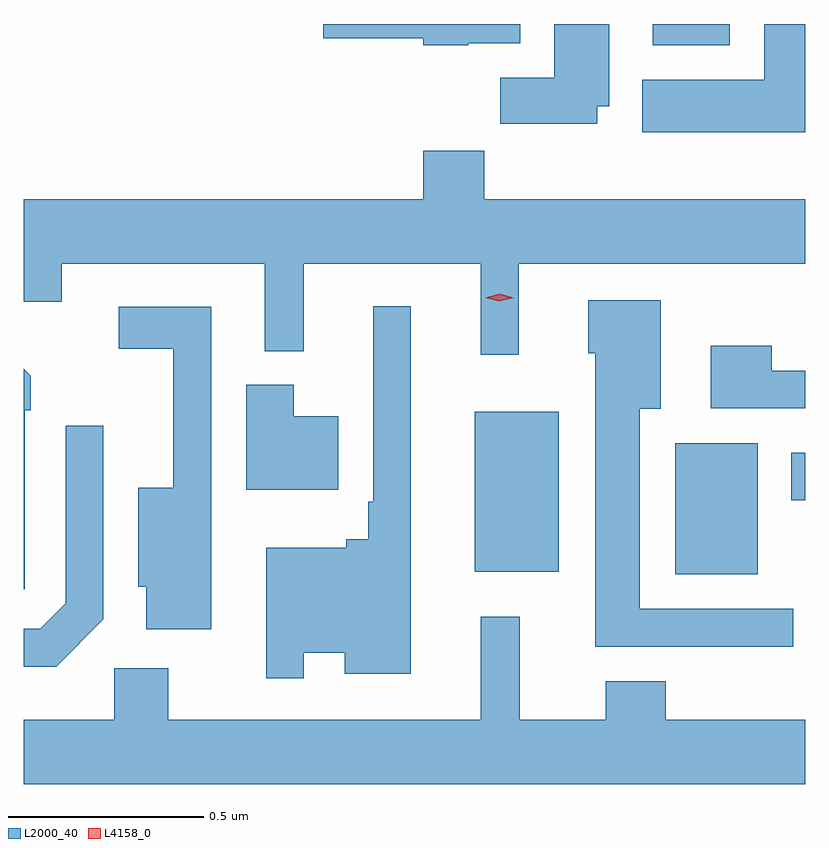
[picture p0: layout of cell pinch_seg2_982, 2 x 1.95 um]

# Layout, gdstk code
import gdstk
lib = gdstk.Library(unit=1e-6, precision=1e-09)
def R(c, l, rs):  # rectangles x0, y0, x1, y1
    for r in rs: c.add(gdstk.rectangle(r[:2], r[2:], *l))
def P(c, l, *ps):  # polygons
    for p in ps: c.add(gdstk.Polygon(p, *l))
L2000_40 = (2000, 40)
L4158_0 = (4158, 0)

pinch_seg2_982 = lib.new_cell('pinch_seg2_982')
R(pinch_seg2_982, L2000_40, [(326.294,637.517,326.506,637.852), (325.781,637.523,325.996,637.933), (326.591,637.706,326.627,637.828), (326.237,638.87,326.434,638.925)])
P(pinch_seg2_982, L2000_40, [(326.627,638.925),(326.522,638.925),(326.522,638.782),(326.21,638.782),(326.21,638.648),(326.627,638.648)],
  [(326.095,638.714),(326.125,638.714),(326.125,638.925),(325.985,638.925),(325.985,638.788),(325.846,638.788),(325.846,638.67),(326.095,638.67)],
  [(325.764,638.876),(325.897,638.876),(325.897,638.925),(325.394,638.925),(325.394,638.888),(325.65,638.888),(325.65,638.87),(325.764,638.87)],
  [(325.894,638.312),(326.627,638.312),(326.627,638.476),(325.805,638.476),(325.805,638.6),(325.649,638.6),(325.649,638.476),(324.627,638.476),(324.627,638.214),(324.724,638.214),(324.724,638.312),(325.244,638.312),(325.244,638.087),(325.343,638.087),(325.343,638.312),(325.796,638.312),(325.796,638.079),(325.894,638.079)],
  [(326.596,637.428),(326.203,637.428),(326.203,637.94),(326.257,637.94),(326.257,638.218),(326.072,638.218),(326.072,638.082),(326.09,638.082),(326.09,637.331),(326.596,637.331)],
  [(325.344,637.316),(325.448,637.316),(325.448,637.262),(325.618,637.262),(325.618,638.203),(325.521,638.203),(325.521,637.702),(325.509,637.702),(325.509,637.606),(325.452,637.606),(325.452,637.585),(325.248,637.585),(325.248,637.251),(325.344,637.251)],
  [(325.107,638.202),(324.87,638.202),(324.87,638.094),(325.01,638.094),(325.01,637.738),(324.92,637.738),(324.92,637.485),(324.941,637.485),(324.941,637.376),(325.107,637.376)],
  [(326.627,638.037),(326.541,638.037),(326.541,638.101),(326.385,638.101),(326.385,637.941),(326.627,637.941)],
  [(324.63,637.937),(324.645,637.937),(324.645,638.025),(324.627,638.043),(324.627,637.479),(324.63,637.479)],
  [(325.432,637.921),(325.318,637.921),(325.318,638.002),(325.196,638.002),(325.196,637.733),(325.432,637.733)],
  [(324.831,637.401),(324.831,637.897),(324.735,637.897),(324.735,637.443),(324.669,637.377),(324.627,637.377),(324.627,637.28),(324.71,637.28)],
  [(326.627,637.144),(326.27,637.144),(326.27,637.243),(326.117,637.243),(326.117,637.144),(325.896,637.144),(325.896,637.408),(325.796,637.408),(325.796,637.144),(324.997,637.144),(324.997,637.276),(324.858,637.276),(324.858,637.144),(324.627,637.144),(324.627,636.98),(326.627,636.98)])
P(pinch_seg2_982, L4158_0, [(325.844,638.215),(325.808,638.225),(325.808,638.225),(325.808,638.225),(325.845,638.235),(325.881,638.225),(325.881,638.225),(325.881,638.224)])

lib.write_gds('pinch_seg2_982.gds')
